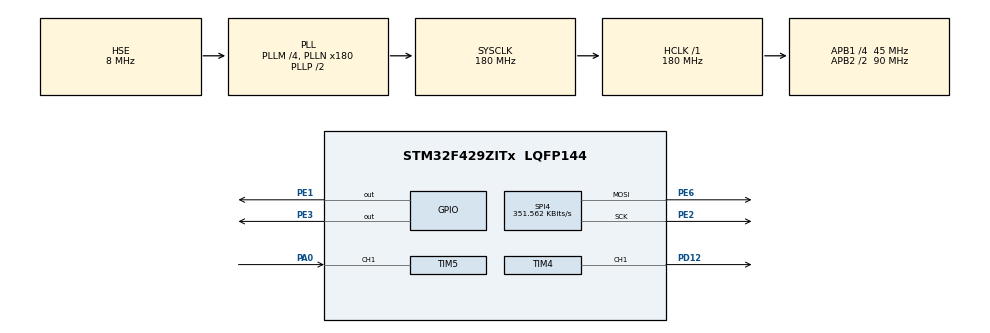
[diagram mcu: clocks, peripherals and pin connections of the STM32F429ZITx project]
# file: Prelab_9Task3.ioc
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Mcu.Family=STM32F4
Mcu.Name=STM32F429ZITx
Mcu.Package=LQFP144
NVIC.PriorityGroup=NVIC_PRIORITYGROUP_4
NVIC.TIM3_IRQn=true\:0\:0\:false\:false\:true\:true\:true\:true
NVIC.TIM4_IRQn=true\:0\:0\:false\:false\:true\:true\:true\:true
NVIC.TIM5_IRQn=true\:0\:0\:false\:false\:true\:true\:true\:true
PA0/WKUP.Signal=S_TIM5_CH1
PD12.Signal=S_TIM4_CH1
PE1.Signal=GPIO_Output
PE2.Mode=TX_Only_Simplex_Unidirect_Master
PE2.Signal=SPI4_SCK
PE3.Signal=GPIO_Output
PE6.Mode=TX_Only_Simplex_Unidirect_Master
PE6.Signal=SPI4_MOSI
PH0/OSC_IN.Mode=HSE-External-Oscillator
PH0/OSC_IN.Signal=RCC_OSC_IN
PH1/OSC_OUT.Mode=HSE-External-Oscillator
PH1/OSC_OUT.Signal=RCC_OSC_OUT
ProjectManager.HeapSize=0x200
ProjectManager.StackSize=0x400
ProjectManager.TargetToolchain=EWARM V8.50
RCC.48MHZClocksFreq_Value=90000000
RCC.AHBFreq_Value=180000000
RCC.APB1CLKDivider=RCC_HCLK_DIV4
RCC.APB1Freq_Value=45000000
RCC.APB1TimFreq_Value=90000000
RCC.APB2CLKDivider=RCC_HCLK_DIV2
RCC.APB2Freq_Value=90000000
RCC.APB2TimFreq_Value=180000000
RCC.CortexFreq_Value=180000000
RCC.HCLKFreq_Value=180000000
RCC.HSE_VALUE=8000000
RCC.HSI_VALUE=16000000
RCC.LSE_VALUE=32768
RCC.PLLM=4
RCC.PLLN=180
RCC.PLLSourceVirtual=RCC_PLLSOURCE_HSE
RCC.SYSCLKFreq_VALUE=180000000
RCC.SYSCLKSource=RCC_SYSCLKSOURCE_PLLCLK
RCC.VCOOutputFreq_Value=360000000
SH.S_TIM4_CH1.0=TIM4_CH1,Output Compare1 CH1
SH.S_TIM5_CH1.0=TIM5_CH1,Input_Capture1_from_TI1
SPI4.BaudRatePrescaler=SPI_BAUDRATEPRESCALER_256
SPI4.CalculateBaudRate=351.562 KBits/s
SPI4.Direction=SPI_DIRECTION_2LINES
SPI4.Mode=SPI_MODE_MASTER
SPI4.VirtualType=VM_MASTER
TIM3.Channel-Output\ Compare1\ No\ Output=TIM_CHANNEL_1
TIM3.Period=500
TIM3.Prescaler=9000
TIM4.Channel-Output\ Compare1\ CH1=TIM_CHANNEL_1
TIM4.Period=20
TIM4.Prescaler=90
TIM5.Channel-Input_Capture1_from_TI1=TIM_CHANNEL_1
VP_TIM3_VS_ClockSourceINT.Mode=Internal
VP_TIM3_VS_no_output1.Mode=Output Compare1 No Output
VP_TIM4_VS_ClockSourceINT.Mode=Internal
VP_TIM5_VS_ClockSourceINT.Mode=Internal
board=custom

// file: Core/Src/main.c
/* USER CODE BEGIN Header */
/**
  ******************************************************************************
  * @file           : main.c
  * @brief          : Main program body
  ******************************************************************************
  * @attention
  *
  * Copyright (c) 2023 STMicroelectronics.
  * All rights reserved.
  *
  * This software is licensed under terms that can be found in the LICENSE file
  * in the root directory of this software component.
  * If no LICENSE file comes with this software, it is provided AS-IS.
  *
  ******************************************************************************
  */
/* USER CODE END Header */
#include "main.h"

/* USER CODE BEGIN PD */
#define Function_Set 0b00110000 //0x30
#define Display_On 0b00001100 //0x0C
#define Display_Clear 0b00000001 //0x01
#define Entry_Mode_Set 0b00000110 //0x06
/* USER CODE END PD */

SPI_HandleTypeDef hspi4;

TIM_HandleTypeDef htim3;
TIM_HandleTypeDef htim4;
TIM_HandleTypeDef htim5;

/* USER CODE BEGIN PV */
int echo_time = 0;
uint8_t data [3];
/* USER CODE END PV */

void SystemClock_Config(void);
static void MX_GPIO_Init(void);
static void MX_TIM3_Init(void);
static void MX_TIM4_Init(void);
static void MX_TIM5_Init(void);
static void MX_SPI4_Init(void);
/* USER CODE BEGIN PFP */
void LCD_Init();
void LCD_SendCommand(uint8_t cmd);
void LCD_SendData(uint8_t data);
void LCD_Sel_Row_Col(uint8_t row, uint8_t col);
void LCD_sendString(char* in, int length);
void LCD_Clear();
/* USER CODE END PFP */

int main(void)
{

  /* MCU Configuration--------------------------------------------------------*/

  /* Reset of all peripherals, Initializes the Flash interface and the Systick. */
  HAL_Init();

  /* Configure the system clock */
  SystemClock_Config();

  /* Initialize all configured peripherals */
  MX_GPIO_Init();
  MX_TIM3_Init();
  MX_TIM4_Init();
  MX_TIM5_Init();
  MX_SPI4_Init();
  /* USER CODE BEGIN 2 */
  HAL_TIM_IC_Start_IT(&htim5, TIM_CHANNEL_1);
  HAL_TIM_OC_Start_IT(&htim3, TIM_CHANNEL_1);
  HAL_TIM_OC_Start_IT(&htim4, TIM_CHANNEL_1);
  HAL_TIM_OC_Init(&htim4);
  HAL_TIM_OC_Start_IT(&htim4, TIM_CHANNEL_1);
  HAL_SPI_Init(&hspi4);
  LCD_Init();
  /* USER CODE END 2 */

  /* Infinite loop */
  while (1)
  {

  }
}

void SystemClock_Config(void)
{
  RCC_OscInitTypeDef RCC_OscInitStruct = {0};
  RCC_ClkInitTypeDef RCC_ClkInitStruct = {0};

  /** Configure the main internal regulator output voltage
  */
  __HAL_RCC_PWR_CLK_ENABLE();
  __HAL_PWR_VOLTAGESCALING_CONFIG(PWR_REGULATOR_VOLTAGE_SCALE1);

  /** Initializes the RCC Oscillators according to the specified parameters
  * in the RCC_OscInitTypeDef structure.
  */
  RCC_OscInitStruct.OscillatorType = RCC_OSCILLATORTYPE_HSE;
  RCC_OscInitStruct.HSEState = RCC_HSE_ON;
  RCC_OscInitStruct.PLL.PLLState = RCC_PLL_ON;
  RCC_OscInitStruct.PLL.PLLSource = RCC_PLLSOURCE_HSE;
  RCC_OscInitStruct.PLL.PLLM = 4;
  RCC_OscInitStruct.PLL.PLLN = 180;
  RCC_OscInitStruct.PLL.PLLP = RCC_PLLP_DIV2;
  RCC_OscInitStruct.PLL.PLLQ = 4;
  if (HAL_RCC_OscConfig(&RCC_OscInitStruct) != HAL_OK)
  {
    Error_Handler();
  }

  /** Activate the Over-Drive mode
  */
  if (HAL_PWREx_EnableOverDrive() != HAL_OK)
  {
    Error_Handler();
  }

  /** Initializes the CPU, AHB and APB buses clocks
  */
  RCC_ClkInitStruct.ClockType = RCC_CLOCKTYPE_HCLK|RCC_CLOCKTYPE_SYSCLK
                              |RCC_CLOCKTYPE_PCLK1|RCC_CLOCKTYPE_PCLK2;
  RCC_ClkInitStruct.SYSCLKSource = RCC_SYSCLKSOURCE_PLLCLK;
  RCC_ClkInitStruct.AHBCLKDivider = RCC_SYSCLK_DIV1;
  RCC_ClkInitStruct.APB1CLKDivider = RCC_HCLK_DIV4;
  RCC_ClkInitStruct.APB2CLKDivider = RCC_HCLK_DIV2;

  if (HAL_RCC_ClockConfig(&RCC_ClkInitStruct, FLASH_LATENCY_5) != HAL_OK)
  {
    Error_Handler();
  }
}

static void MX_SPI4_Init(void)
{

  /* SPI4 parameter configuration*/
  hspi4.Instance = SPI4;
  hspi4.Init.Mode = SPI_MODE_MASTER;
  hspi4.Init.Direction = SPI_DIRECTION_2LINES;
  hspi4.Init.DataSize = SPI_DATASIZE_8BIT;
  hspi4.Init.CLKPolarity = SPI_POLARITY_LOW;
  hspi4.Init.CLKPhase = SPI_PHASE_1EDGE;
  hspi4.Init.NSS = SPI_NSS_SOFT;
  hspi4.Init.BaudRatePrescaler = SPI_BAUDRATEPRESCALER_256;
  hspi4.Init.FirstBit = SPI_FIRSTBIT_MSB;
  hspi4.Init.TIMode = SPI_TIMODE_DISABLE;
  hspi4.Init.CRCCalculation = SPI_CRCCALCULATION_DISABLE;
  hspi4.Init.CRCPolynomial = 10;
  if (HAL_SPI_Init(&hspi4) != HAL_OK)
  {
    Error_Handler();
  }

}

static void MX_TIM3_Init(void)
{

  TIM_ClockConfigTypeDef sClockSourceConfig = {0};
  TIM_MasterConfigTypeDef sMasterConfig = {0};
  TIM_OC_InitTypeDef sConfigOC = {0};

  htim3.Instance = TIM3;
  htim3.Init.Prescaler = 9000;
  htim3.Init.CounterMode = TIM_COUNTERMODE_UP;
  htim3.Init.Period = 500;
  htim3.Init.ClockDivision = TIM_CLOCKDIVISION_DIV1;
  htim3.Init.AutoReloadPreload = TIM_AUTORELOAD_PRELOAD_DISABLE;
  if (HAL_TIM_Base_Init(&htim3) != HAL_OK)
  {
    Error_Handler();
  }
  sClockSourceConfig.ClockSource = TIM_CLOCKSOURCE_INTERNAL;
  if (HAL_TIM_ConfigClockSource(&htim3, &sClockSourceConfig) != HAL_OK)
  {
    Error_Handler();
  }
  if (HAL_TIM_OC_Init(&htim3) != HAL_OK)
  {
    Error_Handler();
  }
  sMasterConfig.MasterOutputTrigger = TIM_TRGO_RESET;
  sMasterConfig.MasterSlaveMode = TIM_MASTERSLAVEMODE_DISABLE;
  if (HAL_TIMEx_MasterConfigSynchronization(&htim3, &sMasterConfig) != HAL_OK)
  {
    Error_Handler();
  }
  sConfigOC.OCMode = TIM_OCMODE_TIMING;
  sConfigOC.Pulse = 0;
  sConfigOC.OCPolarity = TIM_OCPOLARITY_HIGH;
  sConfigOC.OCFastMode = TIM_OCFAST_DISABLE;
  if (HAL_TIM_OC_ConfigChannel(&htim3, &sConfigOC, TIM_CHANNEL_1) != HAL_OK)
  {
    Error_Handler();
  }

}

static void MX_TIM4_Init(void)
{

  TIM_ClockConfigTypeDef sClockSourceConfig = {0};
  TIM_MasterConfigTypeDef sMasterConfig = {0};
  TIM_OC_InitTypeDef sConfigOC = {0};

  htim4.Instance = TIM4;
  htim4.Init.Prescaler = 90;
  htim4.Init.CounterMode = TIM_COUNTERMODE_UP;
  htim4.Init.Period = 20;
  htim4.Init.ClockDivision = TIM_CLOCKDIVISION_DIV1;
  htim4.Init.AutoReloadPreload = TIM_AUTORELOAD_PRELOAD_DISABLE;
  if (HAL_TIM_Base_Init(&htim4) != HAL_OK)
  {
    Error_Handler();
  }
  sClockSourceConfig.ClockSource = TIM_CLOCKSOURCE_INTERNAL;
  if (HAL_TIM_ConfigClockSource(&htim4, &sClockSourceConfig) != HAL_OK)
  {
    Error_Handler();
  }
  if (HAL_TIM_OC_Init(&htim4) != HAL_OK)
  {
    Error_Handler();
  }
  sMasterConfig.MasterOutputTrigger = TIM_TRGO_RESET;
  sMasterConfig.MasterSlaveMode = TIM_MASTERSLAVEMODE_DISABLE;
  if (HAL_TIMEx_MasterConfigSynchronization(&htim4, &sMasterConfig) != HAL_OK)
  {
    Error_Handler();
  }
  sConfigOC.OCMode = TIM_OCMODE_TIMING;
  sConfigOC.Pulse = 0;
  sConfigOC.OCPolarity = TIM_OCPOLARITY_HIGH;
  sConfigOC.OCFastMode = TIM_OCFAST_DISABLE;
  if (HAL_TIM_OC_ConfigChannel(&htim4, &sConfigOC, TIM_CHANNEL_1) != HAL_OK)
  {
    Error_Handler();
  }
  HAL_TIM_MspPostInit(&htim4);

}

static void MX_TIM5_Init(void)
{

  TIM_ClockConfigTypeDef sClockSourceConfig = {0};
  TIM_MasterConfigTypeDef sMasterConfig = {0};
  TIM_IC_InitTypeDef sConfigIC = {0};

  htim5.Instance = TIM5;
  htim5.Init.Prescaler = 0;
  htim5.Init.CounterMode = TIM_COUNTERMODE_UP;
  htim5.Init.Period = 4294967295;
  htim5.Init.ClockDivision = TIM_CLOCKDIVISION_DIV1;
  htim5.Init.AutoReloadPreload = TIM_AUTORELOAD_PRELOAD_DISABLE;
  if (HAL_TIM_Base_Init(&htim5) != HAL_OK)
  {
    Error_Handler();
  }
  sClockSourceConfig.ClockSource = TIM_CLOCKSOURCE_INTERNAL;
  if (HAL_TIM_ConfigClockSource(&htim5, &sClockSourceConfig) != HAL_OK)
  {
    Error_Handler();
  }
  if (HAL_TIM_IC_Init(&htim5) != HAL_OK)
  {
    Error_Handler();
  }
  sMasterConfig.MasterOutputTrigger = TIM_TRGO_RESET;
  sMasterConfig.MasterSlaveMode = TIM_MASTERSLAVEMODE_DISABLE;
  if (HAL_TIMEx_MasterConfigSynchronization(&htim5, &sMasterConfig) != HAL_OK)
  {
    Error_Handler();
  }
  sConfigIC.ICPolarity = TIM_INPUTCHANNELPOLARITY_RISING;
  sConfigIC.ICSelection = TIM_ICSELECTION_DIRECTTI;
  sConfigIC.ICPrescaler = TIM_ICPSC_DIV1;
  sConfigIC.ICFilter = 0;
  if (HAL_TIM_IC_ConfigChannel(&htim5, &sConfigIC, TIM_CHANNEL_1) != HAL_OK)
  {
    Error_Handler();
  }

}

static void MX_GPIO_Init(void)
{
  GPIO_InitTypeDef GPIO_InitStruct = {0};

  /* GPIO Ports Clock Enable */
  __HAL_RCC_GPIOE_CLK_ENABLE();
  __HAL_RCC_GPIOH_CLK_ENABLE();
  __HAL_RCC_GPIOA_CLK_ENABLE();
  __HAL_RCC_GPIOD_CLK_ENABLE();

  /*Configure GPIO pin Output Level */
  HAL_GPIO_WritePin(GPIOE, GPIO_PIN_3|GPIO_PIN_1, GPIO_PIN_RESET);

  /*Configure GPIO pins : PE3 PE1 */
  GPIO_InitStruct.Pin = GPIO_PIN_3|GPIO_PIN_1;
  GPIO_InitStruct.Mode = GPIO_MODE_OUTPUT_PP;
  GPIO_InitStruct.Pull = GPIO_NOPULL;
  GPIO_InitStruct.Speed = GPIO_SPEED_FREQ_LOW;
  HAL_GPIO_Init(GPIOE, &GPIO_InitStruct);

}

/* USER CODE BEGIN 4 */
void LCD_SendCommand (uint8_t cmd){
	data[0] = 0xF8;
	data[1] = (cmd & 0xF0);
	data[2] = ((cmd << 4) & 0xF0);
	HAL_GPIO_WritePin(GPIOD, GPIO_PIN_0, GPIO_PIN_SET); // CS to high
        HAL_SPI_Transmit(&hspi4, data, 3, 1);
	HAL_GPIO_WritePin(GPIOD, GPIO_PIN_0, GPIO_PIN_RESET); // CS to low
}

void LCD_Init() {
    HAL_GPIO_WritePin(GPIOD, GPIO_PIN_1, GPIO_PIN_RESET); // Make sure reset is low
    HAL_Delay(100);
    HAL_GPIO_WritePin(GPIOD, GPIO_PIN_1, GPIO_PIN_SET); // Reset Low to high
    HAL_Delay(50); // greater than 40ms
    LCD_SendCommand(Function_Set);
    HAL_Delay(10); // greater than 100us
    LCD_SendCommand(Function_Set);
    HAL_Delay(10); // greater than 37us
    LCD_SendCommand(Display_On);
    HAL_Delay(10); // greater than 100us
    LCD_SendCommand(Display_Clear);
    HAL_Delay(15); // greater than 10ms
    LCD_SendCommand(Entry_Mode_Set);
    HAL_Delay(10); // greater than 100us
}

void LCD_Clear(){
    LCD_SendCommand(Display_Clear);
}

void LCD_SendData (uint8_t ascii){
	data[0] = 0xFA;
	data[1] = (ascii & 0xF0);
	data[2] = ((ascii << 4) & 0xF0);
	HAL_GPIO_WritePin(GPIOD, GPIO_PIN_0, GPIO_PIN_SET); // CS to high
        HAL_SPI_Transmit(&hspi4, data, 3, 1);
	HAL_GPIO_WritePin(GPIOD, GPIO_PIN_0, GPIO_PIN_RESET); // CS to low
}

void LCD_sendString(char* in, int length)
{
  uint8_t letter;
  for (int i; i<length; i++) //iterate through the input string
  {
    letter = in[i]; // assign the letter to the int, getting its ascii value, this may be unnecessary
    LCD_SendData(letter); // send the data to the board
  }
}

void LCD_Sel_Row_Col(uint8_t row, uint8_t col)
{
    switch(row)
	{
	case 0:
		col /= 2; //cursor is 2 spaces wide
		col |= 0x80; // 0b10000000 first row
                break;
        case 1:
                col /= 2;
                col |= 0x90; //second column starts at 0x90
                break;
        case 2:
                col /= 2;
                col |= 0x88; // third row is 0x88
                break;
        case 3:
                col /= 2;
                col |= 0x98; //fourth row is 0x98
                break;
        }
    LCD_SendCommand(col);
    HAL_Delay(5);
}
/* USER CODE END 4 */

void Error_Handler(void)
{
  __disable_irq();
  while (1)
  {
  }
}
